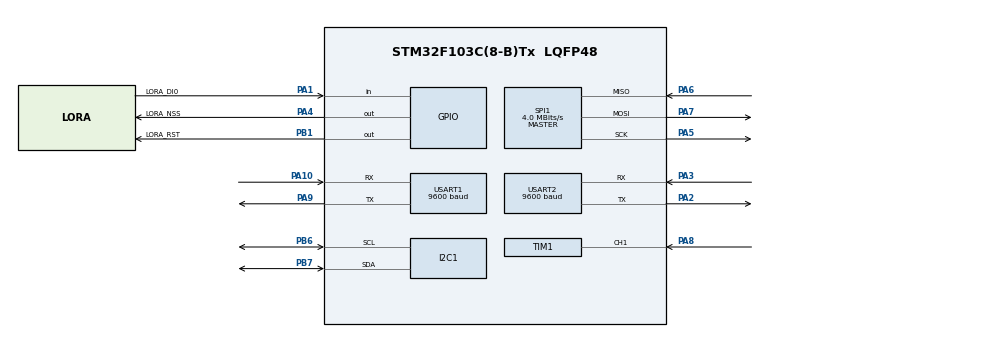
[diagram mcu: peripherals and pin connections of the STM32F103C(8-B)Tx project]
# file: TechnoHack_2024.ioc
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Mcu.Family=STM32F1
Mcu.Name=STM32F103C(8-B)Tx
Mcu.Package=LQFP48
NVIC.PriorityGroup=NVIC_PRIORITYGROUP_4
NVIC.TIM1_BRK_IRQn=true\:0\:0\:false\:false\:true\:true\:true\:true
NVIC.TIM1_CC_IRQn=true\:0\:0\:false\:false\:true\:true\:true\:true
NVIC.TIM1_TRG_COM_IRQn=true\:0\:0\:false\:false\:true\:true\:true\:true
NVIC.TIM1_UP_IRQn=true\:0\:0\:false\:false\:true\:true\:true\:true
PA1.GPIO_Label=LORA_DI0
PA1.Signal=GPIO_Input
PA10.Mode=Asynchronous
PA10.Signal=USART1_RX
PA13.Mode=Serial_Wire
PA13.Signal=SYS_JTMS-SWDIO
PA14.Mode=Serial_Wire
PA14.Signal=SYS_JTCK-SWCLK
PA2.Mode=Asynchronous
PA2.Signal=USART2_TX
PA3.Mode=Asynchronous
PA3.Signal=USART2_RX
PA4.GPIO_Label=LORA_NSS
PA4.Signal=GPIO_Output
PA5.Mode=Full_Duplex_Master
PA5.Signal=SPI1_SCK
PA6.Mode=Full_Duplex_Master
PA6.Signal=SPI1_MISO
PA7.Mode=Full_Duplex_Master
PA7.Signal=SPI1_MOSI
PA8.Signal=S_TIM1_CH1
PA9.Mode=Asynchronous
PA9.Signal=USART1_TX
PB1.GPIO_Label=LORA_RST
PB1.Signal=GPIO_Output
PB6.Mode=I2C
PB6.Signal=I2C1_SCL
PB7.Mode=I2C
PB7.Signal=I2C1_SDA
PD0-OSC_IN.Mode=HSE-External-Oscillator
PD0-OSC_IN.Signal=RCC_OSC_IN
PD1-OSC_OUT.Mode=HSE-External-Oscillator
PD1-OSC_OUT.Signal=RCC_OSC_OUT
ProjectManager.HeapSize=0x200
ProjectManager.StackSize=0x400
ProjectManager.TargetToolchain=STM32CubeIDE
RCC.APB1Freq_Value=8000000
RCC.APB2Freq_Value=8000000
SH.S_TIM1_CH1.0=TIM1_CH1,PWM_Input_1
SPI1.CalculateBaudRate=4.0 MBits/s
SPI1.Direction=SPI_DIRECTION_2LINES
SPI1.Mode=SPI_MODE_MASTER
SPI1.VirtualType=VM_MASTER
TIM1.Period=65535
TIM1.Prescaler=0
USART1.BaudRate=9600
USART1.Parity=PARITY_EVEN
USART1.VirtualMode=VM_ASYNC
USART1.WordLength=WORDLENGTH_9B
USART2.BaudRate=9600
USART2.VirtualMode=VM_ASYNC
VP_TIM1_VS_ClockSourceINT.Mode=Internal
board=custom

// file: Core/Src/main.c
/* USER CODE BEGIN Header */
/**
  ******************************************************************************
  * @file           : main.c
  * @brief          : Main program body
  ******************************************************************************
  * @attention
  *
  * Copyright (c) 2024 STMicroelectronics.
  * All rights reserved.
  *
  * This software is licensed under terms that can be found in the LICENSE file
  * in the root directory of this software component.
  * If no LICENSE file comes with this software, it is provided AS-IS.
  *
  ******************************************************************************
  */
/* USER CODE END Header */
#include "main.h"

/* USER CODE BEGIN Includes */
#include "SX1278.h"
#include "bmp280.h"
#include "mpu9250.h"
#include "parseNMEA.h"
#include "stdio.h"
#include "string.h"

/* USER CODE END Includes */

/* USER CODE BEGIN PD */

//#define _DEBUG

/* USER CODE END PD */

I2C_HandleTypeDef hi2c1;

SPI_HandleTypeDef hspi1;

TIM_HandleTypeDef htim1;

UART_HandleTypeDef huart1;
UART_HandleTypeDef huart2;

/* USER CODE BEGIN PV */
BMP280_HandleTypedef bmp280;

MPU9250_t mpu;

SX1278_hw_t SX1278_hw;
SX1278_t SX1278;

GPS gps;

uint8_t bmp_status = 0;

uint8_t ERROR_REG = 0x00;

int32_t lora_status = 0;
uint16_t crc = 0;

uint32_t start_cycle_time = 0;

float mpuData[6];
float meteo[4];

char tx_packet[128] = {0, };
char gps_input[1024] = {0, };

float temp = 0;
float pres = 0;
float hum = 0;

/* USER CODE END PV */

void SystemClock_Config(void);
static void MX_GPIO_Init(void);
static void MX_SPI1_Init(void);
static void MX_I2C1_Init(void);
static void MX_USART1_UART_Init(void);
static void MX_TIM1_Init(void);
static void MX_USART2_UART_Init(void);
/* USER CODE BEGIN PFP */
void Get_MPU_Data(void);
void Make_Tx_Packet(void);
void Transmit_Packet(void);
void Get_BME_Data(void);
void Get_GPS_Data(void);
uint16_t Crc16(uint8_t *pcBlock, uint16_t len);
/* USER CODE END PFP */

/* USER CODE BEGIN 0 */
uint16_t Crc16(uint8_t *pcBlock, uint16_t len) {
	uint16_t crc = 0xFFFF;
    unsigned char i;
    while (len--) {
        crc ^= *pcBlock++ << 8;
        for (i = 0; i < 8; i++) {
            crc = crc & 0x8000 ? (crc << 1) ^ 0x1021 : crc << 1;
        }
    }
    return crc;
}

void Get_MPU_Data () {
	if (updateMPU(&mpu) == 0) {
		ERROR_REG = ERROR_REG | MPU_READ_ERROR;
	}
	mpuData[0] = getAccX(&mpu);
	mpuData[1] = getAccY(&mpu);
	mpuData[2] = getAccZ(&mpu);
	mpuData[3] = getGyroX(&mpu);
	mpuData[4] = getGyroY(&mpu);
	mpuData[5] = getGyroZ(&mpu);
}

void Make_Tx_Packet(void) {
	tx_packet[0] = 0xFF; // PREAMB
	tx_packet[1] = 0xFF; // PREAMB
	tx_packet[2] = 0x01; // ID
	tx_packet[3] = 0x00; // ID
	memcpy(tx_packet + 4, mpuData, sizeof(mpuData)); // MPU DATA 24 BYTES
	memcpy(tx_packet + (4 + sizeof(mpuData)), meteo, sizeof(meteo)); // METEO DATA 16 BYTES
	memcpy(tx_packet + (4 + sizeof(mpuData) + sizeof(meteo)), &gps, sizeof(gps)); // GPS DATA 12 BYTES
	memcpy(tx_packet + (4 + sizeof(mpuData) + sizeof(meteo) + sizeof(gps)), &ERROR_REG, sizeof(ERROR_REG)); // ERROR CODES 1 BYTE
	crc = Crc16((uint8_t*)tx_packet, 4 + sizeof(mpuData) + sizeof(meteo) + sizeof(gps) + sizeof(ERROR_REG));
	memcpy(tx_packet + (4 + sizeof(mpuData) + sizeof(meteo) + sizeof(gps) + sizeof(ERROR_REG)), &crc, sizeof(crc)); // CRC 2 BYTES
}

void Transmit_Packet(void) {
	lora_status = SX1278_transmit(&SX1278, (uint8_t*) tx_packet, PACKET_LEN, 2000);
	if(lora_status <= 0) {
		ERROR_REG = ERROR_REG | PACKET_TRANSMIT_ERROR;
	}
}

void Get_BME_Data(void) {
	if(bmp_status == 0) {
		if(bmp280_read_float(&bmp280, meteo) != 0) {
			ERROR_REG = ERROR_REG | BMP_READ_ERROR;
		}
	}
}

void Get_GPS_Data()	{
	HAL_UART_Receive(&huart2, (uint8_t*)gps_input, 1024, 1000);
	if (parser(gps_input, 1024, &gps) != 'A') {
		ERROR_REG = ERROR_REG | GPS_NO_DATA;
	}
}

void HAL_TIM_IC_CaptureCallback(TIM_HandleTypeDef *htim) {
	if (htim->Instance == TIM1) {
		uint32_t cl = HAL_TIM_ReadCapturedValue(htim, TIM_CHANNEL_1);
		uint32_t ch = HAL_TIM_ReadCapturedValue(htim, TIM_CHANNEL_2);
		float duty = 100.0 * ch / cl;
		if (duty > 100.0) {
			duty = 100.0;
			ERROR_REG = ERROR_REG | CO2_DATA_ERROR;
		}
		meteo[3] = 2000 * duty / 100;
	}
}

/* USER CODE END 0 */

int main(void)
{

  /* MCU Configuration--------------------------------------------------------*/

  /* Reset of all peripherals, Initializes the Flash interface and the Systick. */
  HAL_Init();

  /* Configure the system clock */
  SystemClock_Config();

  /* Initialize all configured peripherals */
  MX_GPIO_Init();
  MX_SPI1_Init();
  MX_I2C1_Init();
  MX_USART1_UART_Init();
  MX_TIM1_Init();
  MX_USART2_UART_Init();
  /* USER CODE BEGIN 2 */

  HAL_TIM_IC_Start_IT(&htim1, TIM_CHANNEL_1);
  HAL_TIM_IC_Start(&htim1, TIM_CHANNEL_2);

  bmp280_init_default_params(&bmp280.params);
  bmp280.addr = BMP280_I2C_ADDRESS_0;
  bmp280.i2c = &hi2c1;
  bmp_status = bmp280_init(&bmp280, &bmp280.params);
  if (bmp_status != 0) {
	 ERROR_REG = ERROR_REG | BMP_INIT_ERROR;
  }

  MPU9250SetDefault(&mpu);
  if (setupMPU(&mpu, MPU9250_ADDRESS) != 1) {
	  ERROR_REG = ERROR_REG | MPU_INIT_ERROR;
  }

  SX1278_hw.dio0.port = LORA_DI0_GPIO_Port;
  SX1278_hw.dio0.pin = LORA_DI0_Pin;
  SX1278_hw.nss.port = LORA_NSS_GPIO_Port;
  SX1278_hw.nss.pin = LORA_NSS_Pin;
  SX1278_hw.reset.port = LORA_RST_GPIO_Port;
  SX1278_hw.reset.pin = LORA_RST_Pin;
  SX1278_hw.spi = &hspi1;
  SX1278.hw = &SX1278_hw;
  SX1278_init(&SX1278, 434000000, SX1278_POWER_20DBM, SX1278_LORA_SF_7, SX1278_LORA_BW_125KHZ, SX1278_LORA_CR_4_5, SX1278_LORA_CRC_EN, PACKET_LEN);
  lora_status = SX1278_LoRaEntryTx(&SX1278, PACKET_LEN, 2000);

  start_cycle_time = HAL_GetTick();

  /* USER CODE END 2 */

  /* Infinite loop */
  /* USER CODE BEGIN WHILE */
  while (1) {

	  Get_BME_Data();
	  Get_MPU_Data();
	  Get_GPS_Data();

	  if(HAL_GetTick() - start_cycle_time >= CYCLE_TIME) {
		  Make_Tx_Packet();
		  Transmit_Packet();

		  #ifdef _DEBUG
	  	  	  HAL_UART_Transmit(&huart1, (uint8_t*)gps_input, 1024, 1000);
	  	  #endif

		  start_cycle_time = HAL_GetTick();

	  }

    /* USER CODE END WHILE */

  }
}

void SystemClock_Config(void)
{
  RCC_OscInitTypeDef RCC_OscInitStruct = {0};
  RCC_ClkInitTypeDef RCC_ClkInitStruct = {0};

  /** Initializes the RCC Oscillators according to the specified parameters
  * in the RCC_OscInitTypeDef structure.
  */
  RCC_OscInitStruct.OscillatorType = RCC_OSCILLATORTYPE_HSI;
  RCC_OscInitStruct.HSIState = RCC_HSI_ON;
  RCC_OscInitStruct.HSICalibrationValue = RCC_HSICALIBRATION_DEFAULT;
  RCC_OscInitStruct.PLL.PLLState = RCC_PLL_NONE;
  if (HAL_RCC_OscConfig(&RCC_OscInitStruct) != HAL_OK)
  {
    Error_Handler();
  }

  /** Initializes the CPU, AHB and APB buses clocks
  */
  RCC_ClkInitStruct.ClockType = RCC_CLOCKTYPE_HCLK|RCC_CLOCKTYPE_SYSCLK
                              |RCC_CLOCKTYPE_PCLK1|RCC_CLOCKTYPE_PCLK2;
  RCC_ClkInitStruct.SYSCLKSource = RCC_SYSCLKSOURCE_HSI;
  RCC_ClkInitStruct.AHBCLKDivider = RCC_SYSCLK_DIV1;
  RCC_ClkInitStruct.APB1CLKDivider = RCC_HCLK_DIV1;
  RCC_ClkInitStruct.APB2CLKDivider = RCC_HCLK_DIV1;

  if (HAL_RCC_ClockConfig(&RCC_ClkInitStruct, FLASH_LATENCY_0) != HAL_OK)
  {
    Error_Handler();
  }
}

static void MX_I2C1_Init(void)
{

  hi2c1.Instance = I2C1;
  hi2c1.Init.ClockSpeed = 100000;
  hi2c1.Init.DutyCycle = I2C_DUTYCYCLE_2;
  hi2c1.Init.OwnAddress1 = 0;
  hi2c1.Init.AddressingMode = I2C_ADDRESSINGMODE_7BIT;
  hi2c1.Init.DualAddressMode = I2C_DUALADDRESS_DISABLE;
  hi2c1.Init.OwnAddress2 = 0;
  hi2c1.Init.GeneralCallMode = I2C_GENERALCALL_DISABLE;
  hi2c1.Init.NoStretchMode = I2C_NOSTRETCH_DISABLE;
  if (HAL_I2C_Init(&hi2c1) != HAL_OK)
  {
    Error_Handler();
  }

}

static void MX_SPI1_Init(void)
{

  /* SPI1 parameter configuration*/
  hspi1.Instance = SPI1;
  hspi1.Init.Mode = SPI_MODE_MASTER;
  hspi1.Init.Direction = SPI_DIRECTION_2LINES;
  hspi1.Init.DataSize = SPI_DATASIZE_8BIT;
  hspi1.Init.CLKPolarity = SPI_POLARITY_LOW;
  hspi1.Init.CLKPhase = SPI_PHASE_1EDGE;
  hspi1.Init.NSS = SPI_NSS_SOFT;
  hspi1.Init.BaudRatePrescaler = SPI_BAUDRATEPRESCALER_2;
  hspi1.Init.FirstBit = SPI_FIRSTBIT_MSB;
  hspi1.Init.TIMode = SPI_TIMODE_DISABLE;
  hspi1.Init.CRCCalculation = SPI_CRCCALCULATION_DISABLE;
  hspi1.Init.CRCPolynomial = 10;
  if (HAL_SPI_Init(&hspi1) != HAL_OK)
  {
    Error_Handler();
  }

}

static void MX_TIM1_Init(void)
{

  TIM_ClockConfigTypeDef sClockSourceConfig = {0};
  TIM_SlaveConfigTypeDef sSlaveConfig = {0};
  TIM_IC_InitTypeDef sConfigIC = {0};
  TIM_MasterConfigTypeDef sMasterConfig = {0};

  htim1.Instance = TIM1;
  htim1.Init.Prescaler = 0;
  htim1.Init.CounterMode = TIM_COUNTERMODE_UP;
  htim1.Init.Period = 65535;
  htim1.Init.ClockDivision = TIM_CLOCKDIVISION_DIV1;
  htim1.Init.RepetitionCounter = 0;
  htim1.Init.AutoReloadPreload = TIM_AUTORELOAD_PRELOAD_DISABLE;
  if (HAL_TIM_Base_Init(&htim1) != HAL_OK)
  {
    Error_Handler();
  }
  sClockSourceConfig.ClockSource = TIM_CLOCKSOURCE_INTERNAL;
  if (HAL_TIM_ConfigClockSource(&htim1, &sClockSourceConfig) != HAL_OK)
  {
    Error_Handler();
  }
  if (HAL_TIM_IC_Init(&htim1) != HAL_OK)
  {
    Error_Handler();
  }
  sSlaveConfig.SlaveMode = TIM_SLAVEMODE_RESET;
  sSlaveConfig.InputTrigger = TIM_TS_TI1FP1;
  sSlaveConfig.TriggerPolarity = TIM_INPUTCHANNELPOLARITY_RISING;
  sSlaveConfig.TriggerPrescaler = TIM_ICPSC_DIV1;
  sSlaveConfig.TriggerFilter = 0;
  if (HAL_TIM_SlaveConfigSynchro(&htim1, &sSlaveConfig) != HAL_OK)
  {
    Error_Handler();
  }
  sConfigIC.ICPolarity = TIM_INPUTCHANNELPOLARITY_RISING;
  sConfigIC.ICSelection = TIM_ICSELECTION_DIRECTTI;
  sConfigIC.ICPrescaler = TIM_ICPSC_DIV1;
  sConfigIC.ICFilter = 0;
  if (HAL_TIM_IC_ConfigChannel(&htim1, &sConfigIC, TIM_CHANNEL_1) != HAL_OK)
  {
    Error_Handler();
  }
  sConfigIC.ICPolarity = TIM_INPUTCHANNELPOLARITY_FALLING;
  sConfigIC.ICSelection = TIM_ICSELECTION_INDIRECTTI;
  if (HAL_TIM_IC_ConfigChannel(&htim1, &sConfigIC, TIM_CHANNEL_2) != HAL_OK)
  {
    Error_Handler();
  }
  sMasterConfig.MasterOutputTrigger = TIM_TRGO_RESET;
  sMasterConfig.MasterSlaveMode = TIM_MASTERSLAVEMODE_DISABLE;
  if (HAL_TIMEx_MasterConfigSynchronization(&htim1, &sMasterConfig) != HAL_OK)
  {
    Error_Handler();
  }

}

static void MX_USART1_UART_Init(void)
{

  huart1.Instance = USART1;
  huart1.Init.BaudRate = 9600;
  huart1.Init.WordLength = UART_WORDLENGTH_9B;
  huart1.Init.StopBits = UART_STOPBITS_1;
  huart1.Init.Parity = UART_PARITY_EVEN;
  huart1.Init.Mode = UART_MODE_TX_RX;
  huart1.Init.HwFlowCtl = UART_HWCONTROL_NONE;
  huart1.Init.OverSampling = UART_OVERSAMPLING_16;
  if (HAL_UART_Init(&huart1) != HAL_OK)
  {
    Error_Handler();
  }

}

static void MX_USART2_UART_Init(void)
{

  huart2.Instance = USART2;
  huart2.Init.BaudRate = 9600;
  huart2.Init.WordLength = UART_WORDLENGTH_8B;
  huart2.Init.StopBits = UART_STOPBITS_1;
  huart2.Init.Parity = UART_PARITY_NONE;
  huart2.Init.Mode = UART_MODE_TX_RX;
  huart2.Init.HwFlowCtl = UART_HWCONTROL_NONE;
  huart2.Init.OverSampling = UART_OVERSAMPLING_16;
  if (HAL_UART_Init(&huart2) != HAL_OK)
  {
    Error_Handler();
  }

}

static void MX_GPIO_Init(void)
{
  GPIO_InitTypeDef GPIO_InitStruct = {0};

  /* GPIO Ports Clock Enable */
  __HAL_RCC_GPIOD_CLK_ENABLE();
  __HAL_RCC_GPIOA_CLK_ENABLE();
  __HAL_RCC_GPIOB_CLK_ENABLE();

  /*Configure GPIO pin Output Level */
  HAL_GPIO_WritePin(LORA_NSS_GPIO_Port, LORA_NSS_Pin, GPIO_PIN_RESET);

  /*Configure GPIO pin Output Level */
  HAL_GPIO_WritePin(LORA_RST_GPIO_Port, LORA_RST_Pin, GPIO_PIN_RESET);

  /*Configure GPIO pin : LORA_DI0_Pin */
  GPIO_InitStruct.Pin = LORA_DI0_Pin;
  GPIO_InitStruct.Mode = GPIO_MODE_INPUT;
  GPIO_InitStruct.Pull = GPIO_NOPULL;
  HAL_GPIO_Init(LORA_DI0_GPIO_Port, &GPIO_InitStruct);

  /*Configure GPIO pin : LORA_NSS_Pin */
  GPIO_InitStruct.Pin = LORA_NSS_Pin;
  GPIO_InitStruct.Mode = GPIO_MODE_OUTPUT_PP;
  GPIO_InitStruct.Pull = GPIO_NOPULL;
  GPIO_InitStruct.Speed = GPIO_SPEED_FREQ_LOW;
  HAL_GPIO_Init(LORA_NSS_GPIO_Port, &GPIO_InitStruct);

  /*Configure GPIO pin : LORA_RST_Pin */
  GPIO_InitStruct.Pin = LORA_RST_Pin;
  GPIO_InitStruct.Mode = GPIO_MODE_OUTPUT_PP;
  GPIO_InitStruct.Pull = GPIO_NOPULL;
  GPIO_InitStruct.Speed = GPIO_SPEED_FREQ_LOW;
  HAL_GPIO_Init(LORA_RST_GPIO_Port, &GPIO_InitStruct);

}

void Error_Handler(void)
{
  /* USER CODE BEGIN Error_Handler_Debug */
  /* User can add his own implementation to report the HAL error return state */
  __disable_irq();
  ERROR_REG = SYSTEM_ERROR;
  while (1)
  {
  }
  /* USER CODE END Error_Handler_Debug */
}
